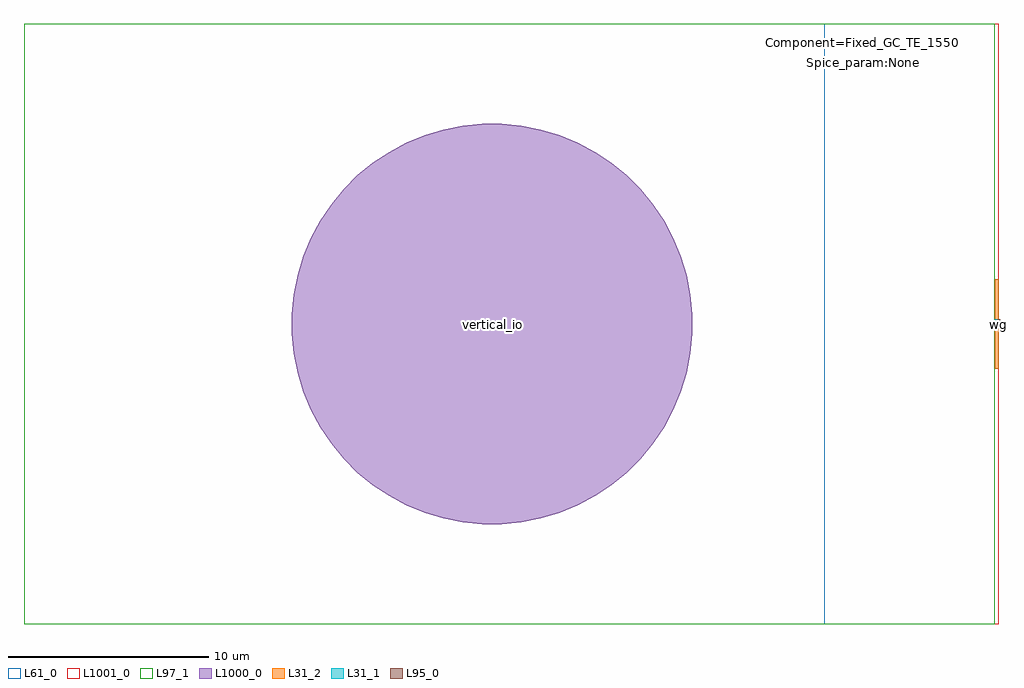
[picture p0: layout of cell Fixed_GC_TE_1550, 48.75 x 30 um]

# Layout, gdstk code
import gdstk
lib = gdstk.Library(unit=1e-6, precision=1e-09)
def R(c, l, rs):  # rectangles x0, y0, x1, y1
    for r in rs: c.add(gdstk.rectangle(r[:2], r[2:], *l))
def P(c, l, *ps):  # polygons
    for p in ps: c.add(gdstk.Polygon(p, *l))
L31_1 = (31, 1)
L31_2 = (31, 2)
L61_0 = (61, 0)
L95_0 = (95, 0)
L97_1 = (97, 1)
L1000_0 = (1000, 0)
L1001_0 = (1001, 0)

fixed_gc_te_1550 = lib.new_cell('Fixed_GC_TE_1550')
R(fixed_gc_te_1550, L31_1, [(-0.2,-0.225,0,0.225)])
R(fixed_gc_te_1550, L31_2, [(-0.2,-2.225,0,2.225), (-0.2,-2.225,0,2.225)])
R(fixed_gc_te_1550, L61_0, [(-48.7,-15,-8.7,15), (-48.7,-15,-8.7,15)])
R(fixed_gc_te_1550, L97_1, [(-48.7,-15,-8.7,15), (-8.7,-15,-0.2,15)])
P(fixed_gc_te_1550, L1000_0, [(-25.811,-10),(-26.789,-9.904),(-27.753,-9.712),(-28.693,-9.427),(-29.601,-9.051),(-30.467,-8.588),(-31.284,-8.042),(-32.044,-7.418),(-32.738,-6.724),(-33.362,-5.964),(-33.908,-5.147),(-34.371,-4.281),(-34.747,-3.373),(-35.032,-2.433),(-35.224,-1.469),(-35.32,-0.491),(-35.32,0.491),(-35.224,1.469),(-35.032,2.433),(-34.747,3.373),(-34.371,4.281),(-33.908,5.147),(-33.362,5.964),(-32.738,6.724),(-32.044,7.418),(-31.284,8.042),(-30.467,8.588),(-29.601,9.051),(-28.693,9.427),(-27.753,9.712),(-26.789,9.904),(-25.811,10),(-24.829,10),(-23.851,9.904),(-22.887,9.712),(-21.947,9.427),(-21.039,9.051),(-20.173,8.588),(-19.356,8.042),(-18.596,7.418),(-17.902,6.724),(-17.278,5.964),(-16.732,5.147),(-16.269,4.281),(-15.893,3.373),(-15.608,2.433),(-15.416,1.469),(-15.32,0.491),(-15.32,-0.491),(-15.416,-1.469),(-15.608,-2.433),(-15.893,-3.373),(-16.269,-4.281),(-16.732,-5.147),(-17.278,-5.964),(-17.902,-6.724),(-18.596,-7.418),(-19.356,-8.042),(-20.173,-8.588),(-21.039,-9.051),(-21.947,-9.427),(-22.887,-9.712),(-23.851,-9.904),(-24.829,-10)])
R(fixed_gc_te_1550, L1001_0, [(-48.7,-15,0,15)])
fixed_gc_te_1550.add(gdstk.FlexPath([(-0.05,0),(0.05,0)], 0.45, ends="flush", simple_path=True, layer=95, datatype=0))  # L95_0
fixed_gc_te_1550.add(gdstk.Label('wg', (0,0), layer=95, texttype=0))
fixed_gc_te_1550.add(gdstk.Label('vertical_io', (-25.32,0), layer=1000, texttype=0))
fixed_gc_te_1550.add(gdstk.Label('Component=Fixed_GC_TE_1550', (-6.795,14.053), layer=1001, texttype=0))
fixed_gc_te_1550.add(gdstk.Label('IPKISS_Circuit_Simulation=CUMEC_SiP', (-6.793,13.552), layer=1001, texttype=0))
fixed_gc_te_1550.add(gdstk.Label('Spice_param:None', (-6.777,13.059), layer=1001, texttype=0))

lib.write_gds('Fixed_GC_TE_1550.gds')
